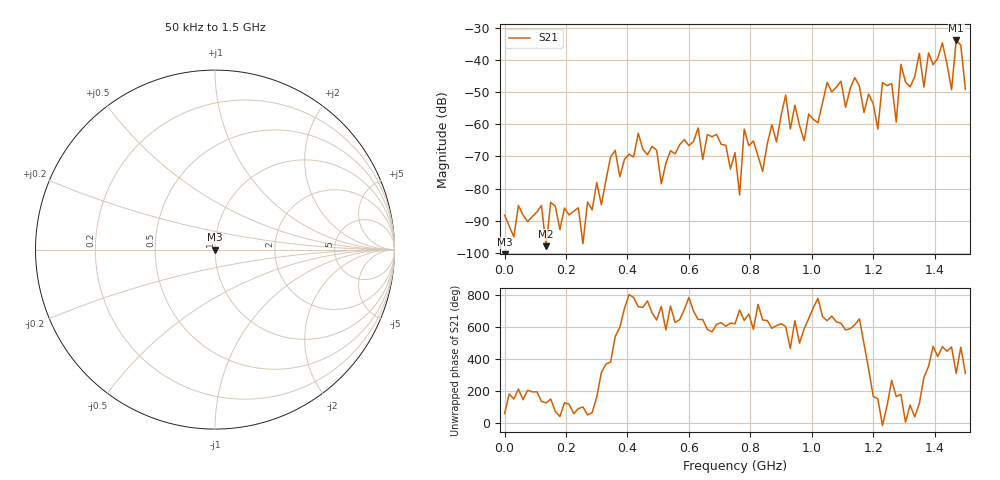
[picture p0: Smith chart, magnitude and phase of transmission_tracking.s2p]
! Created with skrf 1.8.0 (http://scikit-rf.org).
# Hz S RI R 50.0
!freq ReS11 ImS11 ReS21 ImS21 ReS12 ImS12 ReS22 ImS22
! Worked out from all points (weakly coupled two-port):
!   101 points, 50 kHz to 1.5 GHz, reference 50 ohm
!   highest |S21| = -33.84 dB at 1.47 GHz (marker M1); lowest = -98.0 dB at 135 MHz (marker M2)
!   lowest |S11| = - dB at 50 kHz (marker M3), VSWR 1.00, Z = 50 + j0 ohm
!   |S11| at or under -10 dB: start of sweep to end of sweep
!   S12 and S22 are empty: the file has one direction only
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50000  0 0  1.92e-05 3.33e-05  0 0  0 0
1.350455e8  0 0  -7.55e-06 1.02e-05  0 0  0 0
2.550415e8  0 0  -2.68e-06 1.35e-05  0 0  0 0
4.350355e8  0 0  0.000724 8.91e-05  0 0  0 0
5.10033e8  0 0  0.000117 1.65e-05  0 0  0 0
6.30029e8  0 0  0.000267 -0.000839  0 0  0 0
7.50025e8  0 0  -6.07e-05 -0.000359  0 0  0 0
7.650245e8  0 0  7.74e-05 -1.87e-05  0 0  0 0
7.80024e8  0 0  0.000165 -0.000828  0 0  0 0
8.40022e8  0 0  4.55e-05 -0.000179  0 0  0 0
9.150195e8  0 0  -0.0013 -0.00255  0 0  0 0
1.005016e9  0 0  0.0012 2.31e-05  0 0  0 0
1.140012e9  0 0  -0.00147 -0.00515  0 0  0 0
1.21501e9  0 0  -0.000748 0.00039  0 0  0 0
1.260008e9  0 0  -0.000228 -0.00433  0 0  0 0
1.275008e9  0 0  -0.00105 0.000261  0 0  0 0
1.290007e9  0 0  -0.00864 4.88e-05  0 0  0 0
1.365004e9  0 0  0.00103 -0.00367  0 0  0 0
1.425002e9  0 0  -0.00856 0.0165  0 0  0 0
1.455002e9  0 0  -0.0015 0.00312  0 0  0 0
1.470001e9  0 0  0.0132 -0.0154  0 0  0 0
1.5e9  0 0  0.00227 -0.00266  0 0  0 0
